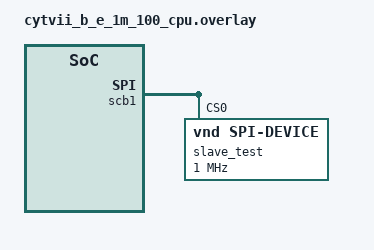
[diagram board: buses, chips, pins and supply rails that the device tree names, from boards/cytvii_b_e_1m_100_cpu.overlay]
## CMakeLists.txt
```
# SPDX-License-Identifier: Apache-2.0

cmake_minimum_required(VERSION 3.20.0)

find_package(Zephyr REQUIRED HINTS $ENV{ZEPHYR_BASE})
project(spi_master_test)

target_sources(app PRIVATE src/main.c)
```

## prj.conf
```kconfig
#CONFIG_CLOCK_CONTROL_INFINEON_CAT1=n
#CONFIG_CLOCK_CONTROL_IFX_FIXED_CLOCK=y
#CONFIG_CLOCK_CONTROL_IFX_FIXED_FACTOR_CLOCK=y
#CONFIG_CLOCK_CONTROL_IFX_PERI_CLOCK=y
#CONFIG_PINCTRL_INFINEON_CAT1=y

CONFIG_CLOCK_CONTROL_IFX_CAT1_FIXED_CLOCK=y
CONFIG_CLOCK_CONTROL_IFX_CAT1_FIXED_FACTOR_CLOCK=n
CONFIG_CLOCK_CONTROL_IFX_CAT1_PERI_CLOCK=n
CONFIG_CLOCK_CONTROL_INFINEON_CAT1=y
CONFIG_PINCTRL_INFINEON_CAT1=y
CONFIG_GPIO_INFINEON_CAT1=y
CONFIG_UART_PDL_INFINEON_CAT1=y

CONFIG_SPI_PDL_INFINEON_CAT1=y

# SPI Master Configuration
CONFIG_SPI=y
CONFIG_PINCTRL=y
CONFIG_GPIO=y

# Logging
CONFIG_LOG=y
CONFIG_SPI_LOG_LEVEL_DBG=y
CONFIG_LOG_MODE_IMMEDIATE=y

# Optional:
CONFIG_IFX_CAT1_SPI_DMA=y
CONFIG_IFX_CAT1_SPI_DMA_TX_AUTO_TRIGGER=y

CONFIG_DMA=y
CONFIG_DMA_LOG_LEVEL_ERR=y

# Increase stack size for debug logging
CONFIG_MAIN_STACK_SIZE=2048
CONFIG_SYSTEM_WORKQUEUE_STACK_SIZE=2048
```

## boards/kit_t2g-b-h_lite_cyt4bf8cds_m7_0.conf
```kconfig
CONFIG_IFX_CAT1_SPI_DMA=y
CONFIG_IFX_CAT1_SPI_DMA_TX_AUTO_TRIGGER=y
CONFIG_DMA=y
```

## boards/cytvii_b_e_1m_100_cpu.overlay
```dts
/*
 * Copyright (c) 2025 Linumiz
 * SPDX-License-Identifier: Apache-2.0
 */

/* Configure SCB0 as SPI Master */
&scb1 {
	compatible = "infineon,cat1-spi-pdl";
	status = "okay";

	#address-cells = <1>;
	#size-cells = <0>;

	slave_test: test-spi-slave@0 {
		compatible = "vnd,spi-device";
		reg = <0>;
		spi-max-frequency = <1000000>;
	};

	dmas = <&dma1 12>, <&dma1 11>;
	dma-names = "tx", "rx";
};
```

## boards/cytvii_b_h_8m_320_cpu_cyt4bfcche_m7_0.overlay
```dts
/*
 * Copyright (c) 2025 Linumiz
 * SPDX-License-Identifier: Apache-2.0
 */

/* Configure SCB0 as SPI Master */
&scb5 {
    compatible = "infineon,cat1-spi-pdl";
    status = "okay";

    #address-cells = <1>;
    #size-cells = <0>;

    /* SPI pins */
    pinctrl-0 = <&p4_0_scb5_spi_m_miso &p4_1_scb5_spi_m_mosi &p4_2_scb5_spi_m_clk>;
    pinctrl-names = "default";
    cs-gpios = <&gpio_prt4 3 GPIO_ACTIVE_LOW>;

    ifx,peri-group = <IFX_PERI_GRP_INST_SEL(1, 0)>;
    ifx,peri-clk = <0x0123>;
    ifx,peri-div = <1>; /* 16-bit divider */
    ifx,peri-div-inst = <3>;

	slave_test: test-spi-slave@0 {
		compatible = "vnd,spi-device";
		reg = <0>;
		spi-max-frequency = <1000000>;
	};

    dmas = <&dma1 26>, <&dma1 27>;
    dma-names = "tx", "rx";
};

&gpio_prt4 {
	status = "okay";
};
```

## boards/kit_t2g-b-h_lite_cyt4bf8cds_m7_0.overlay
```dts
/*
 * Copyright (c) 2025 Linumiz
 * SPDX-License-Identifier: Apache-2.0
 */

/* Configure SCB3 as SPI Master */
&scb3 {
    compatible = "infineon,cat1-spi-pdl";
    status = "okay";

    #address-cells = <1>;
    #size-cells = <0>;

    /* SPI pins */
    pinctrl-0 = <&p13_0_scb3_spi_m_miso &p13_1_scb3_spi_m_mosi &p13_2_scb3_spi_m_clk>;
    pinctrl-names = "default";
    cs-gpios = <&gpio_prt13 3 GPIO_ACTIVE_LOW>;

    ifx,peri-group = <IFX_PERI_GRP_INST_SEL(1, 0)>;
    ifx,peri-clk = <0x0121>;
    ifx,peri-div = <1>; /* 16-bit divider */
    ifx,peri-div-inst = <3>;

	slave_test: test-spi-slave@0 {
		compatible = "vnd,spi-device";
		reg = <0>;
		spi-max-frequency = <1000000>;
	};

    dmas = <&dma1 22>, <&dma1 23>;
    dma-names = "tx", "rx";
};

&gpio_prt4 {
	status = "okay";
};
```

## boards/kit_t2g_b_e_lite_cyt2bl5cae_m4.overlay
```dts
/*
 * Copyright (c) 2025 Linumiz
 * SPDX-License-Identifier: Apache-2.0
 */

/* Configure SCB3 as SPI Master */
&scb3 {
    compatible = "infineon,cat1-spi-pdl";
    status = "okay";

    #address-cells = <1>;
    #size-cells = <0>;

	slave_test: test-spi-slave@0 {
		compatible = "vnd,spi-device";
		reg = <0>;
		spi-max-frequency = <1000000>;
	};

    dmas = <&dma1 14>, <&dma1 15>;
    dma-names = "tx", "rx";
};

&gpio_prt13 {
	status = "okay";
};
```

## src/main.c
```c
/*
 * Copyright (c) 2025 Linumiz GmbH
 *
 * SPDX-License-Identifier: Apache-2.0
 */

#include <zephyr/kernel.h>
#include <zephyr/device.h>
#include <zephyr/drivers/spi.h>
#include <zephyr/logging/log.h>

LOG_MODULE_REGISTER(spi_master, LOG_LEVEL_INF);

#define SPI_NODE DT_NODELABEL(slave_test)

static const struct device *spi_dev = DEVICE_DT_GET(DT_BUS(SPI_NODE));

static struct spi_config spi_cfg = {
	.frequency = 1000000,  /* 1 MHz */
	.operation = SPI_OP_MODE_MASTER | SPI_TRANSFER_MSB |
		     SPI_WORD_SET(8) | SPI_MODE_CPOL | SPI_MODE_CPHA,  /* Mode 3 */
	.slave = DT_REG_ADDR(SPI_NODE),
	.cs = {
		.gpio = SPI_CS_GPIOS_DT_SPEC_GET(SPI_NODE),
		.delay = 0,
	},
};

static int spi_transaction(uint8_t tx_data)
{
	uint8_t tx_buffer = tx_data;
	uint8_t rx_buffer = 0;
	int ret;

	const struct spi_buf tx_buf = {
		.buf = &tx_buffer,
		.len = 1
	};
	const struct spi_buf_set tx = {
		.buffers = &tx_buf,
		.count = 1
	};

	struct spi_buf rx_buf = {
		.buf = &rx_buffer,
		.len = 1
	};
	const struct spi_buf_set rx = {
		.buffers = &rx_buf,
		.count = 1
	};

	LOG_INF("TX: 0x%02X", tx_data);

	ret = spi_transceive(spi_dev, &spi_cfg, &tx, &rx);
	if (ret < 0) {
		LOG_ERR("SPI transaction failed: %d", ret);
		LOG_INF("RX: 0x%02X", rx_buffer);
		return ret;
	}

	LOG_INF("RX: 0x%02X", rx_buffer);

	return 0;
}

int main(void)
{
	uint8_t counter = 0;
	int ret;

	LOG_INF("  SPI Master - Simple TX/RX Test");

	if (!device_is_ready(spi_dev)) {
		LOG_ERR("SPI device not ready");
		return -ENODEV;
	}

	LOG_INF("SPI device ready");
	k_sleep(K_SECONDS(2));

	while (1) {
		ret = spi_transaction(counter);

		if (ret < 0) {
			LOG_ERR("Transaction error");
		}

		LOG_INF("---");

		counter++;

		k_msleep(500);
	}

	return 0;
}
```
